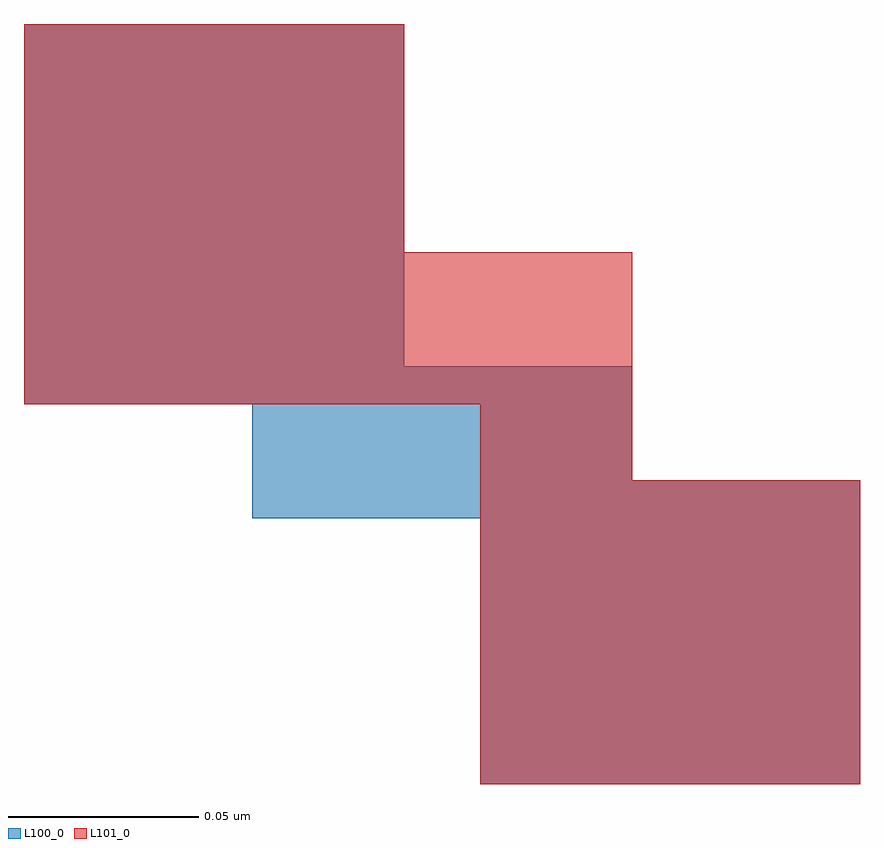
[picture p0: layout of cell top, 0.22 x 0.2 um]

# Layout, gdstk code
import gdstk
lib = gdstk.Library(unit=1e-6, precision=1e-09)
def R(c, l, rs):  # rectangles x0, y0, x1, y1
    for r in rs: c.add(gdstk.rectangle(r[:2], r[2:], *l))
L100_0 = (100, 0)
L101_0 = (101, 0)

top = lib.new_cell('top')
R(top, L100_0, [(0.12,0,0.22,0.07), (0.06,0.07,0.22,0.08), (0.06,0.08,0.16,0.1), (0,0.1,0.16,0.11), (0,0.11,0.1,0.2)])
R(top, L101_0, [(0.12,0,0.22,0.08), (0.12,0.08,0.16,0.1), (0,0.1,0.16,0.14), (0,0.14,0.1,0.2)])

lib.write_gds('top.gds')
